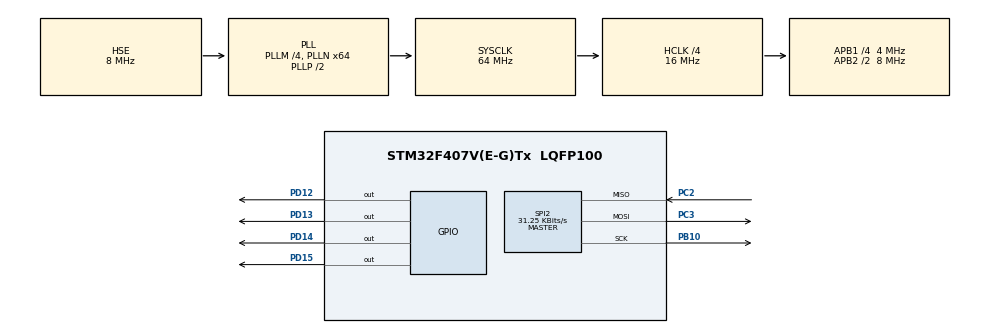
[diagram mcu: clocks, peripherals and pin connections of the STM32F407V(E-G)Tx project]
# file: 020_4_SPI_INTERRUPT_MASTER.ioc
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Mcu.Family=STM32F4
PC3.Mode=Full_Duplex_Master
RCC.PLLSourceVirtual=RCC_PLLSOURCE_HSE
PH0-OSC_IN.Signal=RCC_OSC_IN
RCC.CortexFreq_Value=16000000
SPI2.VirtualType=VM_MASTER
PB10.Mode=Full_Duplex_Master
PC2.Signal=SPI2_MISO
PC2.Mode=Full_Duplex_Master
RCC.APB1CLKDivider=RCC_HCLK_DIV4
RCC.SYSCLKSource=RCC_SYSCLKSOURCE_PLLCLK
ProjectManager.StackSize=0x400
PD13.Signal=GPIO_Output
SPI2.CLKPolarity=SPI_POLARITY_HIGH
ProjectManager.TargetToolchain=STM32CubeIDE
RCC.HCLKFreq_Value=16000000
RCC.APB2TimFreq_Value=16000000
PC3.Signal=SPI2_MOSI
RCC.LSE_VALUE=32768
RCC.AHBFreq_Value=16000000
SPI2.BaudRatePrescaler=SPI_BAUDRATEPRESCALER_128
PH0-OSC_IN.Mode=HSE-External-Oscillator
PB10.Signal=SPI2_SCK
RCC.HSE_VALUE=8000000
board=custom
RCC.VCOOutputFreq_Value=128000000
RCC.APB2Freq_Value=8000000
SPI2.CalculateBaudRate=31.25 KBits/s
PH1-OSC_OUT.Signal=RCC_OSC_OUT
NVIC.SPI2_IRQn=true\:0\:0\:false\:false\:true\:true\:true
RCC.AHBCLKDivider=RCC_SYSCLK_DIV4
Mcu.Name=STM32F407V(E-G)Tx
PD14.Signal=GPIO_Output
PH1-OSC_OUT.Mode=HSE-External-Oscillator
RCC.48MHZClocksFreq_Value=32000000
RCC.SYSCLKFreq_VALUE=64000000
Mcu.Package=LQFP100
SPI2.Mode=SPI_MODE_MASTER
PD12.Signal=GPIO_Output
ProjectManager.HeapSize=0x200
RCC.HSI_VALUE=16000000
NVIC.PriorityGroup=NVIC_PRIORITYGROUP_4
RCC.APB2CLKDivider=RCC_HCLK_DIV2
RCC.PLLM=4
RCC.PLLN=64
RCC.APB1TimFreq_Value=8000000
SPI2.Direction=SPI_DIRECTION_2LINES
RCC.APB1Freq_Value=4000000
PD15.Signal=GPIO_Output

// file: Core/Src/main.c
/* USER CODE BEGIN Header */
/**
  ******************************************************************************
  * @file           : main.c
  * @brief          : Main program body
  ******************************************************************************
  * @attention
  *
  * <h2><center>&copy; Copyright (c) 2021 STMicroelectronics.
  * All rights reserved.</center></h2>
  *
  * This software component is licensed by ST under BSD 3-Clause license,
  * the "License"; You may not use this file except in compliance with the
  * License. You may obtain a copy of the License at:
  *                        opensource.org/licenses/BSD-3-Clause
  *
  ******************************************************************************
  */
/* USER CODE END Header */
#include "main.h"

SPI_HandleTypeDef hspi2;

void SystemClock_Config(void);
static void MX_GPIO_Init(void);
static void MX_SPI2_Init(void);
/* USER CODE BEGIN PFP */

uint8_t  uartTxBuffer[] = "\r\n SLAVE SPI - INTERRUPT MODDA İKİ KART HABERLESMESİ \r\n ";
uint8_t  aTxBuffer[] = "12345678901234567890123456789012345678900\n";
uint8_t  aRxBuffer[43]= {0};

/* USER CODE END PFP */

int main(void)
{

  /* MCU Configuration--------------------------------------------------------*/

  /* Reset of all peripherals, Initializes the Flash interface and the Systick. */
  HAL_Init();

  /* Configure the system clock */
  SystemClock_Config();

  /* Initialize all configured peripherals */
  MX_GPIO_Init();
  MX_SPI2_Init();
  /* USER CODE BEGIN 2 */

  for(volatile uint8_t i=0; i<16;i++)
  {
	  HAL_GPIO_TogglePin(GPIOD, GPIO_PIN_12);
	  HAL_GPIO_TogglePin(GPIOD, GPIO_PIN_13);
	  HAL_Delay(100);

  }
  HAL_GPIO_WritePin(GPIOD, GPIO_PIN_12, RESET);
  HAL_GPIO_WritePin(GPIOD, GPIO_PIN_13 , RESET);

  __HAL_SPI_ENABLE(&hspi2);

//  if(HAL_SPI_TransmitReceive_IT(&hspi2, (uint8_t *)aTxBuffer, (uint8_t *)aRxBuffer, 43) != HAL_OK)
//  {
//	  Error_Handler();
//  }
//
//  while (HAL_SPI_GetState(&hspi2) != HAL_SPI_STATE_READY);

  /* USER CODE END 2 */

  /* Infinite loop */
  /* USER CODE BEGIN WHILE */
  while (1)
  {
	  if(HAL_SPI_TransmitReceive_IT(&hspi2, (uint8_t *)aTxBuffer, (uint8_t *)aRxBuffer, 43) != HAL_OK)
	  {
		  Error_Handler();
	  }
	  HAL_GPIO_WritePin(GPIOD, GPIO_PIN_12, SET);
      HAL_GPIO_WritePin(GPIOD, GPIO_PIN_13, SET);
	  HAL_GPIO_WritePin(GPIOD, GPIO_PIN_14, SET);
      HAL_GPIO_WritePin(GPIOD, GPIO_PIN_15, SET);
      HAL_Delay(500);

    /* USER CODE END WHILE */

  }
}

void SystemClock_Config(void)
{
  RCC_OscInitTypeDef RCC_OscInitStruct = {0};
  RCC_ClkInitTypeDef RCC_ClkInitStruct = {0};

  /** Configure the main internal regulator output voltage
  */
  __HAL_RCC_PWR_CLK_ENABLE();
  __HAL_PWR_VOLTAGESCALING_CONFIG(PWR_REGULATOR_VOLTAGE_SCALE1);
  /** Initializes the RCC Oscillators according to the specified parameters
  * in the RCC_OscInitTypeDef structure.
  */
  RCC_OscInitStruct.OscillatorType = RCC_OSCILLATORTYPE_HSE;
  RCC_OscInitStruct.HSEState = RCC_HSE_ON;
  RCC_OscInitStruct.PLL.PLLState = RCC_PLL_ON;
  RCC_OscInitStruct.PLL.PLLSource = RCC_PLLSOURCE_HSE;
  RCC_OscInitStruct.PLL.PLLM = 4;
  RCC_OscInitStruct.PLL.PLLN = 64;
  RCC_OscInitStruct.PLL.PLLP = RCC_PLLP_DIV2;
  RCC_OscInitStruct.PLL.PLLQ = 4;
  if (HAL_RCC_OscConfig(&RCC_OscInitStruct) != HAL_OK)
  {
    Error_Handler();
  }
  /** Initializes the CPU, AHB and APB buses clocks
  */
  RCC_ClkInitStruct.ClockType = RCC_CLOCKTYPE_HCLK|RCC_CLOCKTYPE_SYSCLK
                              |RCC_CLOCKTYPE_PCLK1|RCC_CLOCKTYPE_PCLK2;
  RCC_ClkInitStruct.SYSCLKSource = RCC_SYSCLKSOURCE_PLLCLK;
  RCC_ClkInitStruct.AHBCLKDivider = RCC_SYSCLK_DIV4;
  RCC_ClkInitStruct.APB1CLKDivider = RCC_HCLK_DIV4;
  RCC_ClkInitStruct.APB2CLKDivider = RCC_HCLK_DIV2;

  if (HAL_RCC_ClockConfig(&RCC_ClkInitStruct, FLASH_LATENCY_0) != HAL_OK)
  {
    Error_Handler();
  }
}

static void MX_SPI2_Init(void)
{

  /* SPI2 parameter configuration*/
  hspi2.Instance = SPI2;
  hspi2.Init.Mode = SPI_MODE_MASTER;
  hspi2.Init.Direction = SPI_DIRECTION_2LINES;
  hspi2.Init.DataSize = SPI_DATASIZE_8BIT;
  hspi2.Init.CLKPolarity = SPI_POLARITY_HIGH;
  hspi2.Init.CLKPhase = SPI_PHASE_1EDGE;
  hspi2.Init.NSS = SPI_NSS_SOFT;
  hspi2.Init.BaudRatePrescaler = SPI_BAUDRATEPRESCALER_128;
  hspi2.Init.FirstBit = SPI_FIRSTBIT_MSB;
  hspi2.Init.TIMode = SPI_TIMODE_DISABLE;
  hspi2.Init.CRCCalculation = SPI_CRCCALCULATION_DISABLE;
  hspi2.Init.CRCPolynomial = 10;
  if (HAL_SPI_Init(&hspi2) != HAL_OK)
  {
    Error_Handler();
  }

}

static void MX_GPIO_Init(void)
{
  GPIO_InitTypeDef GPIO_InitStruct = {0};

  /* GPIO Ports Clock Enable */
  __HAL_RCC_GPIOH_CLK_ENABLE();
  __HAL_RCC_GPIOC_CLK_ENABLE();
  __HAL_RCC_GPIOB_CLK_ENABLE();
  __HAL_RCC_GPIOD_CLK_ENABLE();

  /*Configure GPIO pin Output Level */
  HAL_GPIO_WritePin(GPIOD, GPIO_PIN_12|GPIO_PIN_13|GPIO_PIN_14|GPIO_PIN_15, GPIO_PIN_RESET);

  /*Configure GPIO pins : PD12 PD13 PD14 PD15 */
  GPIO_InitStruct.Pin = GPIO_PIN_12|GPIO_PIN_13|GPIO_PIN_14|GPIO_PIN_15;
  GPIO_InitStruct.Mode = GPIO_MODE_OUTPUT_PP;
  GPIO_InitStruct.Pull = GPIO_NOPULL;
  GPIO_InitStruct.Speed = GPIO_SPEED_FREQ_LOW;
  HAL_GPIO_Init(GPIOD, &GPIO_InitStruct);

}

/* USER CODE BEGIN 4 */

void HAL_SPI_TxRxCpltCallback(SPI_HandleTypeDef *hspi)
{

}

/* USER CODE END 4 */

void Error_Handler(void)
{
  /* USER CODE BEGIN Error_Handler_Debug */

	HAL_GPIO_WritePin(GPIOD, GPIO_PIN_12, RESET);
	HAL_GPIO_WritePin(GPIOD, GPIO_PIN_13, RESET);
	HAL_GPIO_WritePin(GPIOD, GPIO_PIN_14, RESET);
	HAL_GPIO_WritePin(GPIOD, GPIO_PIN_15, RESET);
  /* User can add his own implementation to report the HAL error return state */
  __disable_irq();
  while (1)
  {
  }
  /* USER CODE END Error_Handler_Debug */
}

/************************ (C) COPYRIGHT STMicroelectronics *****END OF FILE****/
